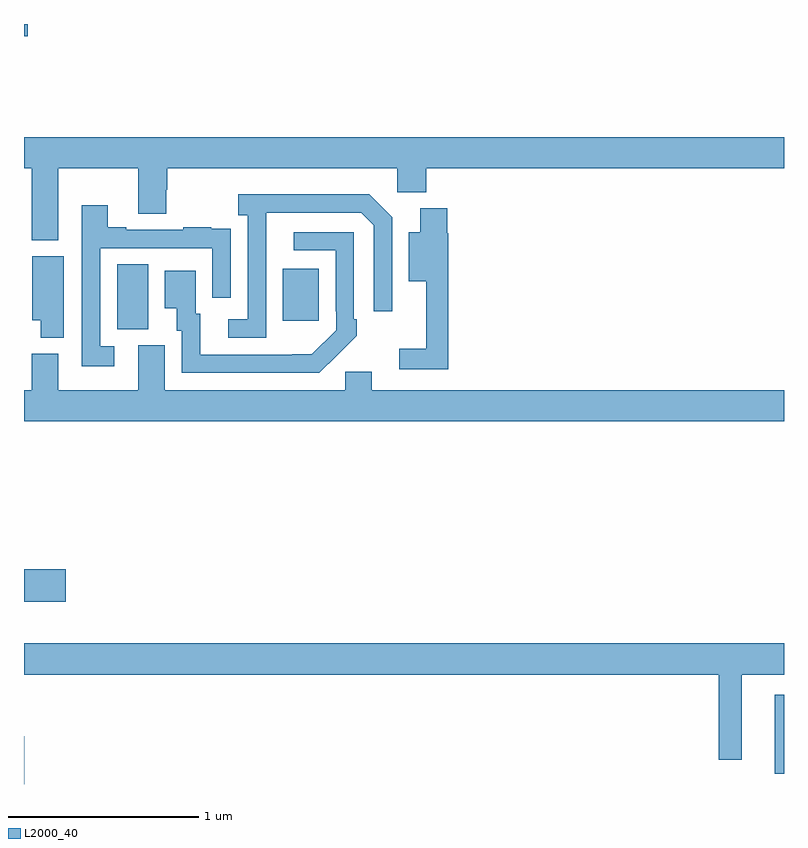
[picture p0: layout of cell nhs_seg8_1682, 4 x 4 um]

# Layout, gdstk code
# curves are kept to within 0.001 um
import gdstk
lib = gdstk.Library(unit=1e-6, precision=1e-09)
def R(c, l, rs):  # rectangles x0, y0, x1, y1
    for r in rs: c.add(gdstk.rectangle(r[:2], r[2:], *l))
def P(c, l, *ps):  # polygons
    for p in ps: c.add(gdstk.Polygon(p, *l))
L2000_40 = (2000, 40)

nhs_seg8_1682 = lib.new_cell('nhs_seg8_1682')
R(nhs_seg8_1682, L2000_40, [(217,1139.9,217.001,1140.151), (220.952,1139.954,221,1140.37), (217,1140.86,217.219,1141.031), (217.49,1142.293,217.654,1142.636), (218.363,1142.337,218.551,1142.611), (217,1143.836,217.019,1143.9)])
P(nhs_seg8_1682, L2000_40, [(217.18,1143.14),(217.601,1143.14),(217.601,1142.902),(217.749,1142.902),(217.749,1143.027),(217.754,1143.027),(217.754,1143.14),(218.964,1143.14),(218.964,1143.014),(219.116,1143.014),(219.116,1143.14),(221,1143.14),(221,1143.304),(217,1143.304),(217,1143.14),(217.04,1143.14),(217.04,1142.762),(217.18,1142.762)],
  [(218.274,1142.707),(218.275,1142.907),(218.775,1142.907),(218.841,1142.841),(218.841,1142.388),(218.937,1142.388),(218.937,1142.883),(218.816,1143.004),(218.127,1143.004),(218.127,1142.894),(218.178,1142.894),(218.178,1142.346),(218.076,1142.346),(218.076,1142.25),(218.274,1142.25)],
  [(217.474,1142.205),(217.401,1142.205),(217.401,1142.721),(217.992,1142.721),(217.992,1142.46),(218.088,1142.46),(218.088,1142.714),(218.087,1142.714),(218.087,1142.823),(217.985,1142.823),(217.985,1142.83),(217.837,1142.83),(217.837,1142.817),(217.537,1142.817),(217.537,1142.83),(217.441,1142.83),(217.441,1142.947),(217.305,1142.947),(217.305,1142.1),(217.474,1142.1)],
  [(219.233,1142.799),(219.227,1142.799),(219.227,1142.929),(219.086,1142.929),(219.086,1142.803),(219.026,1142.803),(219.026,1142.546),(219.116,1142.546),(219.116,1142.191),(218.976,1142.191),(218.976,1142.082),(219.233,1142.082)],
  [(218.645,1142.155),(218.646,1142.154),(218.751,1142.259),(218.751,1142.347),(218.736,1142.347),(218.736,1142.805),(218.421,1142.805),(218.421,1142.709),(218.64,1142.709),(218.64,1142.389),(218.643,1142.389),(218.643,1142.289),(218.515,1142.161),(217.927,1142.16),(217.927,1142.376),(217.903,1142.376),(217.903,1142.602),(217.742,1142.602),(217.742,1142.405),(217.805,1142.405),(217.805,1142.286),(217.83,1142.286),(217.83,1142.064),(218.554,1142.064)],
  [(217.21,1142.677),(217.043,1142.677),(217.043,1142.342),(217.088,1142.342),(217.088,1142.249),(217.21,1142.249)],
  [(221,1141.972),(218.83,1141.972),(218.83,1142.07),(218.691,1142.07),(218.691,1141.972),(217.741,1141.972),(217.741,1142.208),(217.601,1142.208),(217.601,1141.972),(217.18,1141.972),(217.18,1142.164),(217.04,1142.164),(217.04,1141.972),(217,1141.972),(217,1141.808),(221,1141.808)],
  [(220.777,1140.476),(221,1140.476),(221,1140.64),(217,1140.64),(217,1140.476),(220.656,1140.476),(220.656,1140.027),(220.777,1140.027)])

lib.write_gds('nhs_seg8_1682.gds')
